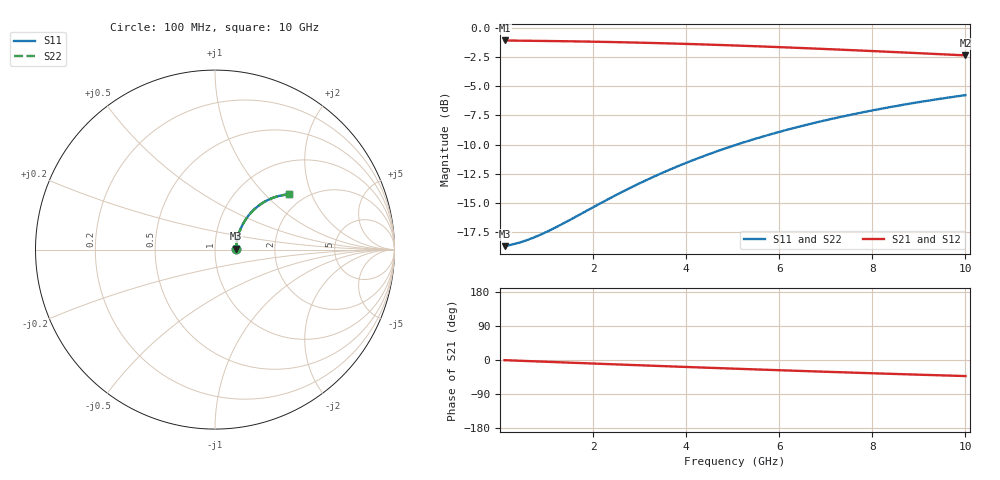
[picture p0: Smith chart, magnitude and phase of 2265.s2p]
# Hz S RI R 50.00
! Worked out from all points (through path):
!   100 points, 100 MHz to 10 GHz, reference 50 ohm
!   highest |S21| = -1.07 dB at 100 MHz (marker M1); lowest = -2.3 dB at 10 GHz (marker M2)
!   group delay of S21, straight-line fit = 11.8 ps
!   lowest |S11| = -18.7 dB at 100 MHz (marker M3), VSWR 1.26, Z = 63.1 + j0.668 ohm
!   |S11| at or under -10 dB: start of sweep to 5.09 GHz
!   |S22| runs from -18.7 to -5.8 dB; largest |S21 - S12| = 0
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1e8  0.1159 0.00522  0.8841 -0.00725  0.8841 -0.00725  0.1159 0.00522
3e8  0.1174 0.0156  0.8826 -0.0217  0.8826 -0.0217  0.1174 0.0156
5e8  0.1188 0.0259  0.8812 -0.0361  0.8812 -0.0361  0.1188 0.0259
8e8  0.1212 0.0413  0.8786 -0.0575  0.8786 -0.0575  0.1212 0.0413
1e9  0.1232 0.0515  0.8766 -0.0717  0.8766 -0.0717  0.1232 0.0515
1.2e9  0.1254 0.0616  0.8743 -0.0859  0.8743 -0.0859  0.1254 0.0616
1.8e9  0.1338 0.0912  0.8655 -0.1277  0.8655 -0.1277  0.1338 0.0912
2.3e9  0.1427 0.115  0.8561 -0.1617  0.8561 -0.1617  0.1427 0.115
2.7e9  0.1511 0.1334  0.8472 -0.1882  0.8472 -0.1882  0.1511 0.1334
3.1e9  0.1606 0.151  0.8373 -0.214  0.8373 -0.214  0.1606 0.151
3.4e9  0.1684 0.1638  0.8291 -0.2328  0.8291 -0.2328  0.1684 0.1638
3.8e9  0.1795 0.18  0.8173 -0.2573  0.8173 -0.2573  0.1795 0.18
4.2e9  0.1916 0.1954  0.8045 -0.2808  0.8045 -0.2808  0.1916 0.1954
4.6e9  0.2044 0.2098  0.791 -0.3035  0.791 -0.3035  0.2044 0.2098
5.1e9  0.2213 0.2265  0.7729 -0.3305  0.7729 -0.3305  0.2213 0.2265
5.5e9  0.2356 0.2388  0.7577 -0.3509  0.7577 -0.3509  0.2356 0.2388
5.9e9  0.2504 0.25  0.7419 -0.3704  0.7419 -0.3704  0.2504 0.25
6.7e9  0.2811 0.2693  0.7089 -0.4064  0.7089 -0.4064  0.2811 0.2693
7.5e9  0.3129 0.2846  0.6745 -0.4383  0.6745 -0.4383  0.3129 0.2846
8.4e9  0.3493 0.297  0.6348 -0.4697  0.6348 -0.4697  0.3493 0.297
9.2e9  0.3816 0.3041  0.5992 -0.4936  0.5992 -0.4936  0.3816 0.3041
1e10  0.4134 0.3076  0.5638 -0.5142  0.5638 -0.5142  0.4134 0.3076
